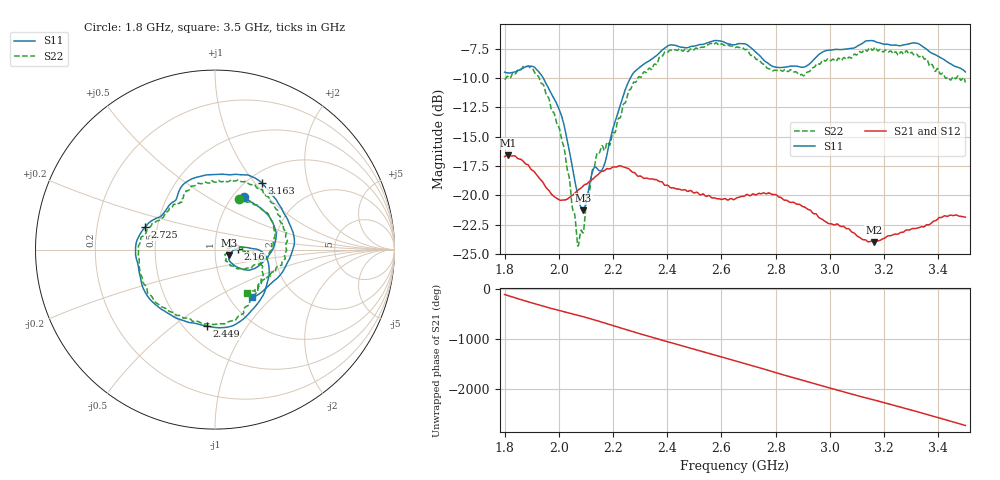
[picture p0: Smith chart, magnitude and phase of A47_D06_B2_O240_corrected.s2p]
! Created with skrf 1.9.0 (http://scikit-rf.org).
# Hz S RI R 50.0
!freq ReS11 ImS11 ReS21 ImS21 ReS12 ImS12 ReS22 ImS22
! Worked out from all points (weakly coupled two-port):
!   1601 points, 1.8 GHz to 3.5 GHz, reference 50 ohm
!   highest |S21| = -16.59 dB at 1.812 GHz (marker M1); lowest = -24.0 dB at 3.162 GHz (marker M2)
!   lowest |S11| = -21.3 dB at 2.09 GHz (marker M3), VSWR 1.19, Z = 58.6 - j3.67 ohm
!   |S11| at or under -10 dB: 1.942 GHz to 2.264 GHz (321.6 MHz wide, 15.3 % of centre)
!   |S22| runs from -24.3 to -7.0 dB; largest |S21 - S12| = 0.0024
!   S11 on the Smith chart (normalised r, x): 1.8 GHz: 1.12, +0.74; 2.16 GHz: 1.30, +0.02; 2.449 GHz: 0.64, -0.67; 2.725 GHz: 0.43, +0.13; 3.163 GHz: 1.15, +1.09; 3.5 GHz: 1.28, -0.76
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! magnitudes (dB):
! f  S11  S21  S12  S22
! 1.8 GHz  -9.5  -16.7  -16.7  -10.1
! 1.812 GHz  -9.6  -16.6  -16.6  -9.9
! 1.882 GHz  -9.0  -17.4  -17.4  -9.0
! 1.942 GHz  -10.0  -18.9  -18.9  -10.6
! 2.013 GHz  -13.4  -20.4  -20.4  -15.4
! 2.068 GHz  -19.7  -19.6  -19.6  -24.0
! 2.084 GHz  -21.1  -19.4  -19.3  -23.0
! 2.09 GHz  -21.3  -19.2  -19.2  -23.2
! 2.127 GHz  -17.8  -18.6  -18.6  -17.8
! 2.16 GHz  -17.8  -17.9  -17.9  -15.8
! 2.26 GHz  -10.2  -17.8  -17.8  -11.0
! 2.367 GHz  -7.9  -18.8  -18.7  -8.5
! 2.449 GHz  -7.4  -19.5  -19.5  -7.5
! 2.65 GHz  -7.2  -20.3  -20.3  -7.4
! 2.725 GHz  -7.8  -20.0  -19.9  -8.4
! 2.801 GHz  -9.1  -19.9  -20.0  -9.3
! 2.934 GHz  -8.6  -21.4  -21.4  -9.2
! 3.162 GHz  -6.8  -24.0  -23.9  -7.5
! 3.163 GHz  -6.8  -24.0  -23.9  -7.5
! 3.217 GHz  -7.2  -23.4  -23.4  -7.8
! 3.324 GHz  -7.1  -22.8  -22.8  -8.1
! 3.5 GHz  -9.5  -21.9  -21.8  -10.4
